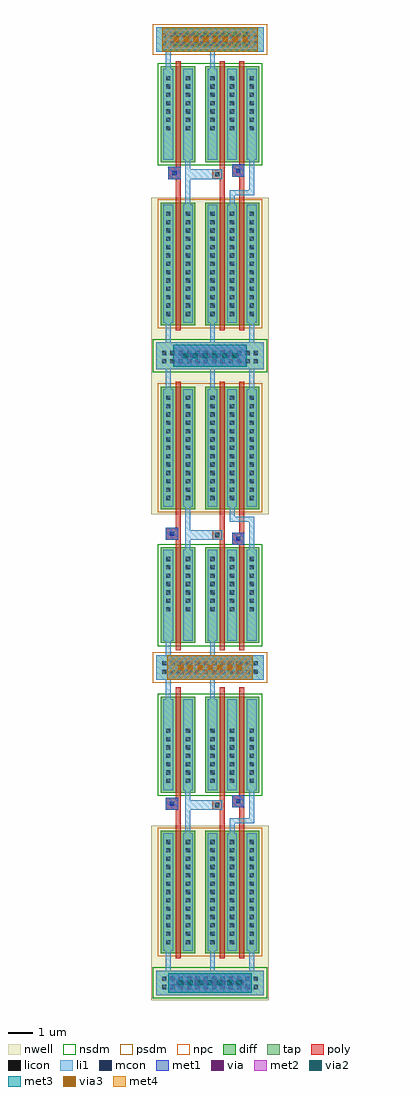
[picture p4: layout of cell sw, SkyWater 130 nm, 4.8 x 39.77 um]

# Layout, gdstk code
import gdstk
lib = gdstk.Library(unit=1e-6, precision=1e-09)
def R(c, l, rs):  # rectangles x0, y0, x1, y1
    for r in rs: c.add(gdstk.rectangle(r[:2], r[2:], *l))
def A(c, l, x, y, w, h, nx, ny, dx, dy):  # array of equal rectangles
    R(c, l, [(x+i*dx, y+j*dy, x+i*dx+w, y+j*dy+h) for i in range(nx) for j in range(ny)])
nwell = (64, 20)
diff = (65, 20)
tap = (65, 44)
poly = (66, 20)
licon = (66, 44)
li1 = (67, 20)
mcon = (67, 44)
met1 = (68, 20)
via = (68, 44)
met2 = (69, 20)
via2 = (69, 44)
met3 = (70, 20)
via3 = (70, 44)
met4 = (71, 20)
nsdm = (93, 44)
psdm = (94, 20)
npc = (95, 20)

c_sw = lib.new_cell('sw')
R(c_sw, nwell, [(-3.9,-26.9,0.9,-19.8), (-3.9,-7.1,0.9,5.8)])
R(c_sw, diff, [(-3.5,-25,-2.1,-20), (-1.7,-25,0.5,-20), (-3.5,-18.45,-2.1,-14.55), (-1.7,-18.45,0.5,-14.55), (-3.5,-12.35,-2.1,-8.45), (-1.7,-12.35,0.5,-8.45), (-3.5,-6.9,-2.1,-1.9), (-1.7,-6.9,0.5,-1.9), (-3.5,0.6,-2.1,5.6), (-1.7,0.6,0.5,5.6), (-3.5,7.25,-2.1,11.15), (-1.7,7.25,0.5,11.15)])
R(c_sw, tap, [(-3.7,-26.7,0.7,-25.7), (-3.7,-13.85,0.7,-12.85), (-3.7,-1.2,0.7,-0.1), (-3.7,11.75,0.7,12.75)])
R(c_sw, poly, [(-2.9,-25.2,-2.7,-19.15), (-1.1,-25.2,-0.9,-19.15), (-0.3,-25.2,-0.1,-19.05), (-3.3,-19.15,-2.7,-18.65), (-1.4,-19.15,-0.9,-18.75), (-0.6,-19.05,-0.1,-18.55), (-1.1,-18.75,-0.9,-14.15), (-2.9,-18.65,-2.7,-14.15), (-0.3,-18.55,-0.1,-14.15), (-2.9,-12.65,-2.7,-8.15), (-1.1,-12.65,-0.9,-8.15), (-0.3,-12.65,-0.1,-8.35), (-0.6,-8.35,-0.1,-7.85), (-3.3,-8.15,-2.7,-7.65), (-1.4,-8.15,-0.9,-7.75), (-0.3,-7.85,-0.1,-1.7), (-1.1,-7.75,-0.9,-1.7), (-2.9,-7.65,-2.7,-1.7), (-2.9,0.4,-2.7,6.55), (-1.1,0.4,-0.9,6.55), (-0.3,0.4,-0.1,6.65), (-3.2,6.55,-2.7,7.05), (-1.4,6.55,-0.9,6.95), (-0.6,6.65,-0.1,7.15), (-1.1,6.95,-0.9,11.35), (-2.9,7.05,-2.7,11.35), (-0.3,7.15,-0.1,11.35)])
A(c_sw, licon, -3.455, -26.455, 0.17, 0.17, 12, 2, 0.34, 0.34)
A(c_sw, licon, -3.285, -24.625, 0.17, 0.17, 1, 13, 0, 0.34)
A(c_sw, licon, -2.485, -24.625, 0.17, 0.17, 1, 13, 0, 0.34)
A(c_sw, licon, -1.485, -24.625, 0.17, 0.17, 3, 13, 0.8, 0.34)
A(c_sw, licon, -3.285, -18.055, 0.17, 0.17, 1, 7, 0, 0.34)
A(c_sw, licon, -2.485, -18.055, 0.17, 0.17, 1, 7, 0, 0.34)
A(c_sw, licon, -1.485, -18.055, 0.17, 0.17, 3, 7, 0.8, 0.34)
A(c_sw, licon, -3.455, -13.605, 0.17, 0.17, 12, 2, 0.34, 0.34)
A(c_sw, licon, -3.285, -11.055, 0.17, 0.17, 1, 7, 0, 0.34)
A(c_sw, licon, -2.485, -11.055, 0.17, 0.17, 1, 7, 0, 0.34)
A(c_sw, licon, -1.485, -11.055, 0.17, 0.17, 3, 7, 0.8, 0.34)
A(c_sw, licon, -3.285, -6.525, 0.17, 0.17, 1, 13, 0, 0.34)
A(c_sw, licon, -2.485, -6.525, 0.17, 0.17, 1, 13, 0, 0.34)
A(c_sw, licon, -1.485, -6.525, 0.17, 0.17, 3, 13, 0.8, 0.34)
A(c_sw, licon, -3.455, -0.955, 0.17, 0.17, 12, 2, 0.34, 0.34)
A(c_sw, licon, -3.285, 0.975, 0.17, 0.17, 1, 13, 0, 0.34)
A(c_sw, licon, -2.485, 0.975, 0.17, 0.17, 1, 13, 0, 0.34)
A(c_sw, licon, -1.485, 0.975, 0.17, 0.17, 3, 13, 0.8, 0.34)
A(c_sw, licon, -3.285, 8.545, 0.17, 0.17, 1, 7, 0, 0.34)
A(c_sw, licon, -2.485, 8.545, 0.17, 0.17, 1, 7, 0, 0.34)
A(c_sw, licon, -1.485, 8.545, 0.17, 0.17, 3, 7, 0.8, 0.34)
A(c_sw, licon, -3.455, 11.995, 0.17, 0.17, 12, 2, 0.34, 0.34)
R(c_sw, licon, [(-1.285,-19.035,-1.115,-18.865), (-3.135,-18.985,-2.965,-18.815), (-0.435,-18.885,-0.265,-18.715), (-0.435,-8.185,-0.265,-8.015), (-1.285,-8.035,-1.115,-7.865), (-3.135,-7.985,-2.965,-7.815), (-1.285,6.665,-1.115,6.835), (-3.035,6.715,-2.865,6.885), (-0.435,6.815,-0.265,6.985)])
A(c_sw, li1, -1.6, -24.9, 0.4, 4.8, 3, 2, 0.8, 18.1)
A(c_sw, li1, -1.6, -18.35, 0.4, 3.7, 3, 2, 0.8, 6.1)
A(c_sw, li1, -1.6, 0.7, 0.4, 4.8, 3, 1, 0.8, 0)
A(c_sw, li1, -1.6, 7.35, 0.4, 3.7, 3, 1, 0.8, 0)
R(c_sw, li1, [(-3.7,-26.7,0.7,-25.7), (-3.3,-25.7,-3.1,-24.9), (-1.5,-25.7,-1.3,-24.9), (0.1,-25.7,0.3,-24.9), (-3.4,-24.9,-3,-20.1), (-2.6,-24.9,-2.2,-20.1), (-2.5,-20.1,-2.3,-19.15), (-0.7,-20.1,-0.5,-19.7), (-0.7,-19.7,0.3,-19.5), (0.1,-19.5,0.3,-18.35), (-3.3,-19.15,-2.8,-18.65), (-2.5,-19.15,-1,-18.75), (-0.6,-19.05,-0.1,-18.55), (-2.5,-18.75,-2.3,-18.35), (-3.4,-18.35,-3,-14.65), (-2.6,-18.35,-2.2,-14.65), (-3.3,-14.65,-3.1,-13.85), (-1.5,-14.65,-1.3,-13.85), (-3.7,-13.85,0.7,-12.85), (-3.3,-12.85,-3.1,-12.25), (-1.5,-12.85,-1.3,-12.25), (-3.4,-12.25,-3,-8.55), (-2.6,-12.25,-2.2,-8.55), (-2.5,-8.55,-2.3,-8.15), (0.1,-8.55,0.3,-7.4), (-0.6,-8.35,-0.1,-7.85), (-3.3,-8.15,-2.8,-7.65), (-2.5,-8.15,-1,-7.75), (-2.5,-7.75,-2.3,-6.8), (-0.7,-7.4,0.3,-7.2), (-0.7,-7.2,-0.5,-6.8), (-3.4,-6.8,-3,-2), (-2.6,-6.8,-2.2,-2), (-3.3,-2,-3.1,-1.2), (-1.5,-2,-1.3,-1.2), (0.1,-2,0.3,-1.2), (-3.7,-1.2,0.7,-0.1), (-3.3,-0.1,-3.1,0.7), (-1.5,-0.1,-1.3,0.7), (0.1,-0.1,0.3,0.7), (-3.4,0.7,-3,5.5), (-2.6,0.7,-2.2,5.5), (-2.5,5.5,-2.3,6.55), (-0.7,5.5,-0.5,5.9), (-0.7,5.9,0.3,6.1), (0.1,6.1,0.3,7.35), (-3.2,6.55,-2.7,7.05), (-2.5,6.55,-1,6.95), (-0.6,6.65,-0.1,7.15), (-2.5,6.95,-2.3,7.35), (-3.4,7.35,-3,11.05), (-2.6,7.35,-2.2,11.05), (-3.3,11.05,-3.1,11.75), (-1.5,11.05,-1.3,11.75), (-3.7,11.75,0.7,12.75)])
A(c_sw, mcon, -2.845, -26.285, 0.17, 0.17, 8, 2, 0.36, 12.67)
A(c_sw, mcon, -2.845, -13.255, 0.17, 0.17, 8, 1, 0.36, 0)
A(c_sw, mcon, -2.665, -0.735, 0.17, 0.17, 7, 1, 0.36, 0)
A(c_sw, mcon, -3, 11.985, 0.17, 0.17, 9, 2, 0.36, 0.36)
R(c_sw, mcon, [(-3.135,-18.985,-2.965,-18.815), (-0.435,-18.885,-0.265,-18.715), (-0.435,-8.185,-0.265,-8.015), (-3.135,-7.985,-2.965,-7.815), (-3.035,6.715,-2.865,6.885), (-0.435,6.815,-0.265,6.985)])
R(c_sw, met1, [(-3.2,-26.6,0.2,-25.8), (-3.3,-19.15,-2.8,-18.65), (-0.6,-19.05,-0.1,-18.55), (-3.25,-13.85,0.25,-12.85), (-0.6,-8.35,-0.1,-7.85), (-3.3,-8.15,-2.8,-7.65), (-3,-1.1,0,-0.2), (-3.2,6.55,-2.7,7.05), (-0.6,6.65,-0.1,7.15), (-3.45,11.8,0.45,12.7)])
A(c_sw, via, -2.695, -26.275, 0.15, 0.15, 8, 2, 0.32, 12.69)
A(c_sw, via, -2.695, -13.265, 0.15, 0.15, 8, 1, 0.32, 0)
A(c_sw, via, -2.535, -0.725, 0.15, 0.15, 7, 1, 0.32, 0)
A(c_sw, via, -2.99, 12.015, 0.15, 0.15, 10, 2, 0.32, 0.32)
R(c_sw, met2, [(-3.2,-26.6,0.2,-25.8), (-3.25,-13.85,0.25,-12.85), (-3,-1.1,0,-0.2), (-3.45,11.8,0.45,12.7)])
A(c_sw, via2, -2.8, -26.3, 0.2, 0.2, 7, 2, 0.4, 12.85)
A(c_sw, via2, -2.6, -0.75, 0.2, 0.2, 6, 1, 0.4, 0)
A(c_sw, via2, -2.975, 11.95, 0.2, 0.2, 8, 2, 0.4, 0.4)
R(c_sw, met3, [(-3.2,-26.6,0.2,-25.8), (-3.25,-13.85,0.25,-12.85), (-3,-1.1,0,-0.2), (-3.45,11.8,0.45,12.7)])
A(c_sw, via3, -2.8, -13.45, 0.2, 0.2, 7, 1, 0.4, 0)
A(c_sw, via3, -2.975, 12.15, 0.2, 0.2, 8, 1, 0.4, 0)
R(c_sw, met4, [(-3.25,-13.85,0.25,-12.85), (-3.45,11.75,0.45,12.75)])
R(c_sw, nsdm, [(-3.825,-26.825,0.825,-25.575), (-3.625,-18.575,0.625,-14.425), (-3.625,-12.475,0.625,-8.325), (-3.825,-1.325,0.825,0.025), (-3.625,7.125,0.625,11.275)])
R(c_sw, psdm, [(-3.625,-25.125,0.625,-19.875), (-3.825,-13.975,0.825,-12.725), (-3.625,-7.025,0.625,-1.775), (-3.625,0.475,0.625,5.725), (-3.825,11.625,0.825,12.875)])
R(c_sw, npc, [(-1.385,-19.135,-1.015,-18.765), (-3.235,-19.085,-2.865,-18.715), (-0.535,-18.985,-0.165,-18.615), (-0.535,-8.285,-0.165,-7.915), (-1.385,-8.135,-1.015,-7.765), (-3.235,-8.085,-2.865,-7.715), (-1.385,6.565,-1.015,6.935), (-3.135,6.615,-2.765,6.985), (-0.535,6.715,-0.165,7.085)])

lib.write_gds('sw.gds')
